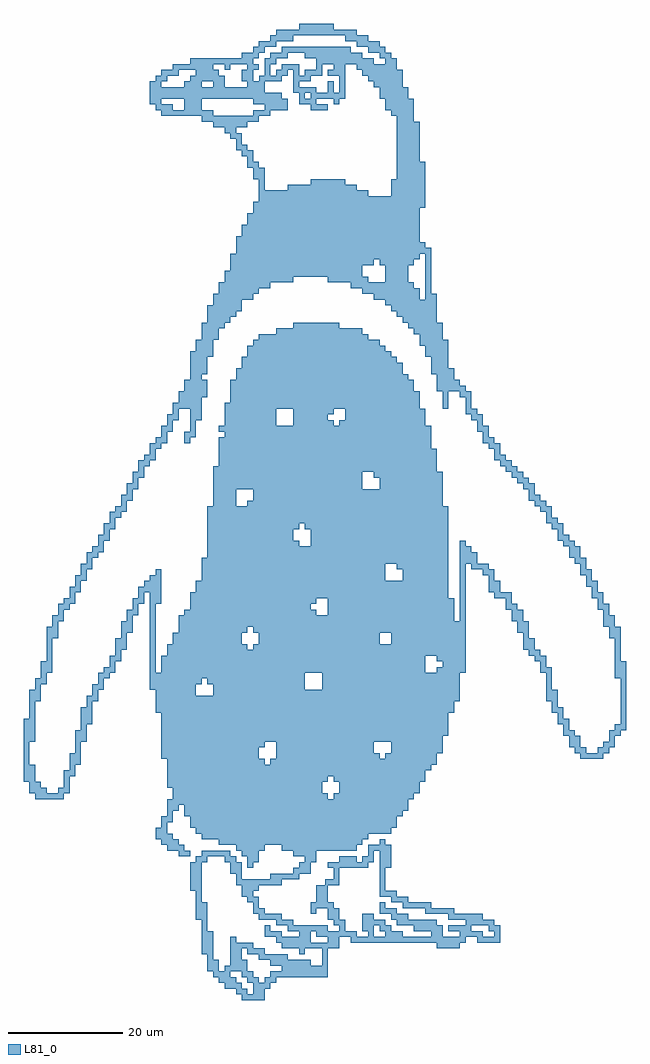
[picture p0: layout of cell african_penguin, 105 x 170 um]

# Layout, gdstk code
import gdstk
lib = gdstk.Library(unit=1e-6, precision=1e-09)
def R(c, l, rs):  # rectangles x0, y0, x1, y1
    for r in rs: c.add(gdstk.rectangle(r[:2], r[2:], *l))
def P(c, l, *ps):  # polygons
    for p in ps: c.add(gdstk.Polygon(p, *l))
L81_0 = (81, 0)

african_penguin = lib.new_cell('african_penguin')
R(african_penguin, L81_0, [(-10.5,-74,-9.5,-72), (11.5,-68,14.49,-67), (10.5,-67,12.5,-66), (-24.5,12,-23.5,13.99), (-2.5,70,0.5,71), (1.5,71,2.5,73), (0.5,73,1.5,75), (-11.49,75,-10.5,76), (-3.5,76,-0.5,77), (-1.5,77,-0.5,79.2)])
P(african_penguin, L81_0, [(-14.5,-85),(-14.5,-84),(-15.5,-84),(-15.5,-83),(-17.5,-83),(-17.5,-82),(-18.5,-82),(-18.5,-81),(-16.5,-81),(-15.5,-81),(-15.5,-82),(-14.5,-82),(-14.5,-83),(-13.5,-83),(-13.5,-84),(-12.5,-84),(-12.5,-82),(-13.5,-82),(-13.5,-81),(-14.5,-81),(-14.5,-80),(-16.5,-80),(-16.5,-81),(-18.5,-81),(-19.5,-81),(-19.5,-80),(-20.5,-80),(-20.5,-77),(-21.5,-77),(-21.5,-71),(-22.5,-71),(-22.5,-68),(-21.5,-68),(-20.5,-68),(-20.5,-73),(-19.5,-73),(-19.5,-78),(-18.5,-78),(-18.5,-80),(-17.5,-80),(-17.5,-79),(-16.5,-79),(-16.5,-78),(-14.5,-78),(-13.5,-78),(-13.5,-80),(-12.5,-80),(-12.5,-81),(-11.5,-81),(-11.5,-82),(-10.5,-82),(-10.5,-81),(-9.5,-81),(-9.5,-80),(-7.5,-80),(-7.5,-79),(-9.5,-79),(-9.5,-78),(-11.5,-78),(-11.5,-77),(-13.5,-77),(-13.5,-76),(-14.5,-76),(-14.5,-78),(-16.5,-78),(-16.5,-74),(-15.5,-74),(-15.5,-75),(-12.5,-75),(-12.5,-76),(-10.5,-76),(-10.5,-77),(-6.5,-77),(-6.5,-78),(-3.5,-78),(-2.5,-78),(-2.5,-79),(-0.5,-79),(-0.5,-76),(-3.5,-76),(-3.5,-77),(-4.5,-77),(-4.5,-76),(-7.5,-76),(-7.5,-75),(-2.5,-75),(0.5,-75),(0.5,-74),(-1.5,-74),(-1.5,-73),(-2.5,-73),(-2.5,-75),(-7.5,-75),(-8.5,-75),(-8.5,-74),(-9.5,-74),(-9.5,-73),(-7.5,-73),(-7.5,-74),(-4.5,-74),(-4.5,-73),(-6.5,-73),(-6.5,-72),(-8.5,-72),(-8.5,-71),(-11.5,-71),(-11.5,-70),(-12.5,-70),(-12.5,-68),(-13.5,-68),(-13.5,-67),(-14.5,-67),(-14.5,-65),(-15.5,-65),(-15.5,-63),(-16.5,-63),(-16.5,-61),(-17.5,-61),(-17.5,-60),(-20.5,-60),(-20.5,-61),(-21.5,-61),(-21.5,-68),(-22.5,-68),(-22.5,-66),(-23.5,-66),(-23.5,-61),(-22.5,-61),(-22.5,-60),(-21.5,-60),(-21.5,-59),(-16.5,-59),(-16.5,-60),(-15.5,-60),(-15.5,-61),(-14.5,-61),(-14.5,-64),(-9.5,-64),(-9.5,-63),(-5.5,-63),(-5.5,-62),(-4.5,-62),(-4.5,-61),(-3.5,-61),(-3.5,-60),(-5.5,-60),(-5.5,-59),(-7.5,-59),(-7.5,-58),(-10.5,-58),(-10.5,-59),(-11.5,-59),(-11.5,-61),(-12.5,-61),(-12.5,-62),(-13.5,-62),(-13.5,-60),(-14.5,-60),(-14.5,-59),(-15.5,-59),(-15.5,-58),(-18.5,-58),(-18.5,-57),(-21.5,-57),(-21.5,-56),(-22.5,-56),(-22.5,-55),(-23.5,-55),(-23.5,-53),(-24.5,-53),(-24.5,-51),(-25.5,-51),(-25.5,-52),(-26.5,-52),(-26.5,-54),(-27.5,-54),(-27.5,-56),(-26.5,-56),(-26.5,-57),(-25.5,-57),(-25.5,-58),(-24.5,-58),(-24.5,-59),(-23.5,-59),(-23.5,-60),(-25.5,-60),(-25.5,-59),(-27.5,-59),(-27.5,-58),(-28.5,-58),(-28.5,-57),(-29.5,-57),(-29.5,-55),(-28.5,-55),(-28.5,-53),(-27.5,-53),(-27.5,-50),(-26.5,-50),(-26.5,-49),(-0.5,-49),(0.5,-49),(0.5,-50),(1.5,-50),(1.5,-49),(2.5,-49),(2.5,-47),(1.5,-47),(1.5,-46),(0.5,-46),(0.5,-47),(-0.5,-47),(-0.5,-49),(-26.5,-49),(-26.5,-48),(-27.5,-48),(-27.5,-43),(-11.5,-43),(-10.5,-43),(-10.5,-44),(-9.5,-44),(-9.5,-43),(-8.5,-43),(-8.5,-42),(8.5,-42),(9.5,-42),(9.5,-43),(10.5,-43),(10.5,-42),(11.5,-42),(11.5,-40),(8.5,-40),(8.5,-42),(-8.5,-42),(-8.5,-40),(-10.5,-40),(-10.5,-41),(-11.5,-41),(-11.5,-43),(-27.5,-43),(-28.5,-43),(-28.5,-35),(-29.5,-35),(-29.5,-32),(-22.5,-32),(-19.5,-32),(-19.5,-31),(-3.5,-31),(-0.5,-31),(-0.5,-28),(17.5,-28),(19.5,-28),(19.5,-27),(20.5,-27),(20.5,-26),(19.5,-26),(19.5,-25),(17.5,-25),(17.5,-28),(-0.5,-28),(-3.5,-28),(-3.5,-31),(-19.5,-31),(-19.5,-30),(-20.5,-30),(-20.5,-29),(-21.5,-29),(-21.5,-30),(-22.5,-30),(-22.5,-32),(-29.5,-32),(-29.5,-31),(-30.5,-31),(-30.5,-14),(-31.5,-14),(-31.5,-16),(-32.5,-16),(-32.5,-18),(-33.5,-18),(-33.5,-21),(-34.5,-21),(-34.5,-24),(-35.5,-24),(-35.5,-26),(-36.5,-26),(-36.5,-28),(-37.5,-28),(-37.5,-29),(-38.5,-29),(-38.5,-27),(-37.5,-27),(-37.5,-25),(-36.5,-25),(-36.5,-22),(-35.5,-22),(-35.5,-19),(-34.5,-19),(-34.5,-17),(-33.5,-17),(-33.5,-15),(-32.5,-15),(-32.5,-13),(-31.5,-13),(-31.5,-12),(-30.5,-12),(-30.5,-11),(-29.5,-11),(-29.5,-10),(-28.5,-10),(-28.5,-16),(-29.5,-16),(-29.5,-28),(-28.5,-28),(-28.5,-25),(-27.5,-25),(-27.5,-23),(-26.5,-23),(-14.5,-23),(-13.5,-23),(-13.5,-24),(-12.5,-24),(-12.5,-23),(-11.5,-23),(9.5,-23),(11.5,-23),(11.5,-21),(9.5,-21),(9.5,-23),(-11.5,-23),(-11.5,-21),(-12.5,-21),(-12.5,-20),(-13.5,-20),(-13.5,-21),(-14.5,-21),(-14.5,-23),(-26.5,-23),(-26.5,-21),(-25.5,-21),(-25.5,-18),(-24.5,-18),(-24.5,-17),(-23.5,-17),(-2.5,-17),(-1.5,-17),(-1.5,-18),(0.5,-18),(0.5,-15),(-1.5,-15),(-1.5,-16),(-2.5,-16),(-2.5,-17),(-23.5,-17),(-23.5,-14),(-22.5,-14),(-22.5,-12),(-21.5,-12),(10.5,-12),(13.5,-12),(13.5,-10),(12.5,-10),(12.5,-9),(10.5,-9),(10.5,-12),(-21.5,-12),(-21.5,-8),(-20.5,-8),(-20.5,-5),(-5.5,-5),(-4.5,-5),(-4.5,-6),(-2.5,-6),(-2.5,-3),(-3.5,-3),(-3.5,-2),(-4.5,-2),(-4.5,-3),(-5.5,-3),(-5.5,-5),(-20.5,-5),(-20.5,1),(-19.5,1),(-15.5,1),(-13.5,1),(-13.5,2),(-12.5,2),(-12.5,4),(6.5,4),(9.5,4),(9.5,6),(8.5,6),(8.5,7),(6.5,7),(6.5,4),(-12.5,4),(-15.5,4),(-15.5,1),(-19.5,1),(-19.5,8),(-18.5,8),(-18.5,13),(-17.5,13),(-17.5,14),(-18.5,14),(-18.5,15),(-17.5,15),(-8.5,15),(-5.5,15),(-5.5,16),(0.5,16),(1.5,16),(1.5,15),(2.5,15),(2.5,16),(3.5,16),(3.5,18),(1.5,18),(1.5,17),(0.5,17),(0.5,16),(-5.5,16),(-5.5,18),(-8.5,18),(-8.5,15),(-17.5,15),(-17.5,19),(-16.5,19),(-16.5,23),(-15.5,23),(-15.5,25),(-14.5,25),(-14.5,27),(-13.5,27),(-13.5,29),(-12.5,29),(-12.5,30),(-11.5,30),(-11.5,31),(-8.5,31),(-8.5,32),(-5.5,32),(-5.5,33),(2.5,33),(2.5,32),(6.5,32),(6.5,31),(7.5,31),(7.5,30),(9.5,30),(9.5,29),(10.5,29),(10.5,28),(11.5,28),(11.5,27),(12.5,27),(12.5,26),(13.5,26),(13.5,24),(14.5,24),(14.5,23),(15.5,23),(15.5,21),(16.5,21),(16.5,18),(17.5,18),(17.5,15),(18.5,15),(18.5,11),(19.5,11),(19.5,7),(20.5,7),(20.5,1),(21.5,1),(21.5,-15),(22.5,-15),(22.5,-19),(23.5,-19),(23.5,-5),(24.5,-5),(24.5,-6),(25.5,-6),(25.5,-7),(26.5,-7),(26.5,-9),(28.5,-9),(28.5,-10),(29.5,-10),(29.5,-12),(30.5,-12),(30.5,-14),(32.5,-14),(32.5,-16),(33.5,-16),(33.5,-17),(34.5,-17),(34.5,-19),(35.5,-19),(35.5,-22),(36.5,-22),(36.5,-24),(37.5,-24),(37.5,-25),(38.5,-25),(38.5,-27),(39.5,-27),(39.5,-31),(40.5,-31),(40.5,-34),(41.5,-34),(41.5,-36),(42.5,-36),(42.5,-38),(43.5,-38),(43.5,-39),(44.5,-39),(44.5,-41),(45.5,-41),(45.5,-42),(47.5,-42),(47.5,-41),(48.5,-41),(48.5,-40),(49.5,-40),(49.5,-37.98),(50.5,-37.98),(50.5,-41),(49.5,-41),(49.5,-42),(48.5,-42),(48.5,-43),(44.5,-43),(44.5,-42),(43.5,-42),(43.5,-41),(42.5,-41),(42.5,-39),(41.5,-39),(41.5,-37),(40.5,-37),(40.5,-35),(39.5,-35),(39.5,-33),(38.5,-33),(38.5,-28),(37.5,-28),(37.5,-26),(36.5,-26),(36.5,-25),(35.5,-25),(35.5,-24),(34.5,-24),(34.5,-21),(33.5,-21),(33.5,-19),(32.5,-19),(32.5,-17),(31.5,-17),(31.5,-15),(29.5,-15),(29.5,-14),(28.5,-14),(28.5,-11),(27.5,-11),(27.5,-10),(25.5,-10),(25.5,-9),(24.5,-9),(24.5,-28),(23.5,-28),(23.5,-33),(22.5,-33),(22.5,-35),(21.5,-35),(21.5,-39),(20.5,-39),(20.5,-42),(19.5,-42),(19.5,-44),(18.5,-44),(18.5,-45),(17.5,-45),(17.5,-47),(16.5,-47),(16.5,-49),(15.5,-49),(15.5,-50),(14.5,-50),(14.5,-52),(13.5,-52),(13.5,-53),(12.5,-53),(12.5,-55),(11.5,-55),(11.5,-56),(7.5,-56),(7.5,-57),(6.5,-57),(6.5,-58),(5.5,-58),(5.5,-59),(-1.5,-59),(-1.5,-61),(-2.5,-61),(-2.5,-63),(-4.5,-63),(-4.5,-64),(-7.5,-64),(-7.5,-65),(-11.5,-65),(-11.5,-66),(-12.5,-66),(-12.5,-67),(-11.5,-67),(-11.5,-69),(-10.5,-69),(-10.5,-70),(-7.5,-70),(-7.5,-71),(-5.5,-71),(-5.5,-72),(0.5,-72),(0.5,-73),(1.5,-73),(2.5,-73),(2.5,-76),(0.5,-76),(0.5,-81),(-8.5,-81),(-8.5,-82),(-9.5,-82),(-9.5,-83),(-10.5,-83),(-10.5,-85)],
  [(19.5,-76),(19.5,-75),(4.5,-75),(4.5,-74),(2.5,-74),(2.5,-71),(3.5,-71),(3.5,-73),(5.5,-73),(5.5,-74),(7.5,-74),(7.5,-71.88),(8.5,-71.88),(8.5,-74),(10.5,-74),(10.5,-73),(9.5,-73),(9.5,-72),(7.5,-72),(7.5,-73),(6.5,-73),(6.5,-70),(8.5,-70),(8.5,-71),(10.5,-71),(10.5,-72),(11.5,-72),(11.5,-73),(13.5,-73),(13.5,-74),(18.5,-74),(18.5,-73),(15.5,-73),(15.5,-72),(12.5,-72),(12.5,-71),(11.5,-71),(11.5,-70),(9.5,-70),(9.5,-68),(10.5,-68),(10.5,-69),(12.5,-69),(12.5,-70),(14.5,-70),(14.5,-71),(19.5,-71),(19.5,-72),(20.5,-72),(20.5,-74),(23.5,-74),(23.5,-73),(25.5,-73),(27.5,-73),(27.5,-74),(29.5,-74),(29.5,-73),(28.5,-73),(28.5,-72),(25.5,-72),(25.5,-73),(23.5,-73),(21.5,-73),(21.5,-72),(24.5,-72),(24.5,-71),(21.5,-71),(21.5,-70),(17.5,-70),(17.5,-69),(13.5,-69),(13.5,-68),(18.5,-68),(18.5,-69),(22.5,-69),(22.5,-70),(27.5,-70),(27.5,-71),(29.5,-71),(29.5,-72),(30.5,-72),(30.5,-75),(26.5,-75),(26.5,-74),(24.5,-74),(24.5,-75),(23.5,-75),(23.5,-76)],
  [(9.5,-67),(9.5,-59),(8.5,-59),(8.5,-61),(7.5,-61),(7.5,-62),(2.5,-62),(2.5,-65),(0,-65),(0,-64),(1.5,-64),(1.5,-62),(0.5,-62),(0.5,-61),(2.5,-61),(2.5,-60),(5.5,-60),(5.5,-61),(6.5,-61),(6.5,-60),(7.5,-60),(7.5,-58),(9.5,-58),(9.5,-57),(10.5,-57),(10.5,-58),(11.5,-58),(11.5,-62),(10.5,-62),(10.5,-67)],
  [(-31.5,8),(-31.5,10),(-30.5,10),(-30.5,12),(-29.5,12),(-29.5,13),(-28.5,13),(-28.5,15),(-27.5,15),(-27.5,17),(-26.5,17),(-26.5,19),(-25.5,19),(-25.5,21),(-24.5,21),(-24.5,23),(-23.5,23),(-23.5,28),(-22.5,28),(-22.5,30),(-21.5,30),(-21.5,33),(-20.5,33),(-20.5,36),(-19.5,36),(-19.5,38),(-18.5,38),(-18.5,40),(-17.5,40),(-17.5,42),(-16.5,42),(-16.5,45),(-15.5,45),(-15.5,48),(-14.5,48),(-14.5,50),(-13.5,50),(-13.5,52),(-12.5,52),(-12.5,54),(-11.5,54),(-11.5,58),(-12.5,58),(-12.5,60),(-13.5,60),(-13.5,62),(-14.5,62),(-14.5,63),(-15.5,63),(-15.5,65),(-16.5,65),(-16.5,66),(-15.5,66),(-14.5,66),(-14.5,64),(-13.5,64),(-13.5,63),(-12.5,63),(-12.5,61),(-11.5,61),(-11.5,60),(-10.5,60),(-10.5,56),(-6.5,56),(-6.5,57),(-2.5,57),(-2.5,58),(3.5,58),(3.5,57),(5.5,57),(5.5,56),(7.5,56),(7.5,55),(11.5,55),(11.5,58),(12.5,58),(12.5,69),(11.5,69),(11.5,70),(10.5,70),(10.5,72),(9.5,72),(9.5,74),(8.5,74),(8.5,75),(7.5,75),(7.5,76),(6.5,76),(6.5,77),(5.5,77),(5.5,78),(3.5,78),(3.5,72),(2.5,72),(2.5,76),(0.5,76),(0.5,77),(1.5,77),(1.5,78),(-0.5,78),(-0.5,79),(-3.5,79),(-3.5,80),(-6.5,80),(-6.5,79),(-8.5,79),(-8.5,78),(-9.5,78),(-9.5,76),(-8.5,76),(-8.5,77),(-7.5,77),(-7.5,78),(-4.5,78),(-4.5,76),(-2.49,76),(-2.49,75),(-4.5,75),(-4.5,73),(-5.5,73),(-5.5,77),(-6.5,77),(-6.5,76),(-7.5,76),(-7.5,75),(-10.5,75),(-10.5,79),(-9.5,79),(-9.5,80),(-7.5,80),(-7.5,81),(4.5,81),(4.5,80),(6.51,80),(6.51,79),(8.5,79),(8.5,78),(10.5,78),(10.5,79),(9.5,79),(9.5,80),(7.5,80),(7.5,81),(5.5,81),(5.5,82),(3.5,82),(3.5,83),(-5.5,83),(-5.5,82),(-8.5,82),(-8.5,81),(-10.5,81),(-10.5,80),(-11.5,80),(-11.5,79),(-12.5,79),(-12.5,78),(-11.5,78),(-11.5,77),(-12.5,77),(-12.5,75),(-10.5,75),(-10.5,73),(-7.5,73),(-7.5,72),(-6.5,72),(-6.5,70),(-9.5,70),(-9.5,69),(-11.5,69),(-11.5,68),(-13.5,68),(-13.5,67),(-15.5,67),(-15.5,66),(-16.5,66),(-17.5,66),(-17.5,67),(-19.5,67),(-19.5,68),(-21.5,68),(-21.5,69),(-28.5,69),(-28.5,70),(-29.5,70),(-29.5,71),(-28.5,71),(-26.5,71),(-26.5,70),(-24.5,70),(-21.5,70),(-19.5,70),(-19.5,69),(-12.5,69),(-12.5,70),(-10.5,70),(-10.5,71),(-12.5,71),(-12.5,72),(-21.5,72),(-21.5,70),(-24.5,70),(-24.5,72),(-28.5,72),(-28.5,71),(-29.5,71),(-30.5,71),(-30.5,74),(-28.5,74),(-24.5,74),(-21.5,74),(-19.5,74),(-19.5,75),(-21.5,75),(-21.5,74),(-24.5,74),(-24.5,75),(-23.5,75),(-23.5,76),(-22.5,76),(-22.5,77),(-19.5,77),(-18.5,77),(-18.5,76),(-17.5,76),(-17.5,74),(-13.5,74),(-13.5,75),(-14.5,75),(-14.5,77),(-13.5,77),(-13.5,78),(-16.5,78),(-16.5,77),(-17.5,77),(-17.5,78),(-19.5,78),(-19.5,77),(-22.5,77),(-25.5,77),(-25.5,76),(-27.5,76),(-27.5,75),(-28.5,75),(-28.5,74),(-30.5,74),(-30.5,75),(-29.5,75),(-29.5,76),(-28.5,76),(-28.5,77),(-26.5,77),(-26.5,78),(-23.5,78),(-23.5,79),(-14.5,79),(-14.5,80),(-12.5,80),(-12.5,81),(-11.5,81),(-11.5,82),(-9.5,82),(-9.5,83),(-8.5,83),(-8.5,84),(-4.5,84),(-4.5,85),(1.5,85),(1.5,84),(5.5,84),(5.5,83),(7.5,83),(7.5,82),(9.5,82),(9.5,81),(10.5,81),(10.5,80),(11.5,80),(11.5,79),(12.5,79),(12.5,77),(13.5,77),(13.5,74),(14.5,74),(14.5,72),(15.5,72),(15.5,68),(16.5,68),(16.5,61),(17.5,61),(17.5,53),(16.5,53),(16.5,47),(17.5,47),(17.5,46),(18.5,46),(18.5,38),(19.5,38),(19.5,33),(20.5,33),(20.5,30),(21.5,30),(21.5,25),(22.5,25),(22.5,23),(23.5,23),(23.5,22),(24.5,22),(24.5,21),(25.5,21),(25.5,18),(26.5,18),(26.5,16),(25.5,16),(25.5,17),(24.5,17),(24.5,20),(23.5,20),(23.5,21),(21.5,21),(21.5,18),(20.5,18),(20.5,21),(19.5,21),(19.5,24),(18.5,24),(18.5,27),(17.5,27),(17.5,29),(16.5,29),(16.5,31),(15.5,31),(15.5,32),(14.5,32),(14.5,33),(13.5,33),(13.5,34),(12.5,34),(12.5,35),(11.5,35),(11.5,36),(10.5,36),(10.5,37),(8.5,37),(8.5,38),(6.5,38),(6.5,39),(4.5,39),(4.5,40),(0.5,40),(0.5,41),(6.5,41),(7.5,41),(7.5,40),(10.5,40),(14.5,40),(15.5,40),(15.5,39),(16.5,39),(16.5,37),(17.5,37),(17.5,45),(16.5,45),(16.5,44),(15.5,44),(15.5,43),(14.5,43),(14.5,40),(10.5,40),(10.5,43),(9.5,43),(9.5,44),(8.5,44),(8.5,43),(6.5,43),(6.5,41),(0.5,41),(-5.5,41),(-5.5,40),(-9.5,40),(-9.5,39),(-11.5,39),(-11.5,38),(-12.5,38),(-12.5,37),(-14.5,37),(-14.5,35),(-15.5,35),(-15.5,34),(-16.5,34),(-16.5,33),(-17.5,33),(-17.5,32),(-18.5,32),(-18.5,30),(-19.5,30),(-19.5,27),(-20.5,27),(-20.5,24),(-21.5,24),(-21.5,23),(-20.5,23),(-20.5,20),(-21.5,20),(-21.5,16),(-22.5,16),(-22.5,13),(-23.5,13),(-23.5,18),(-25.5,18),(-25.5,16),(-26.5,16),(-26.5,14),(-27.5,14),(-27.5,12),(-28.5,12),(-28.5,11),(-29.5,11),(-29.5,9),(-30.5,9),(-30.5,8)],
  [(-4.5,71),(-4.5,74),(-3.5,74),(-3.5,72),(-1.51,72),(-1.51,71)],
  [(-2.5,72),(-2.5,73),(-3.5,73),(-3.5,74),(-1.5,74),(-1.5,73),(1.5,73),(1.5,72)],
  [(-36.5,-1),(-36.5,1),(-35.5,1),(-35.5,3),(-34.5,3),(-34.5,5),(-33.5,5),(-33.5,7),(-32.5,7),(-32.5,8.98),(-31.5,8.98),(-31.5,6),(-32.5,6),(-32.5,4),(-33.5,4),(-33.5,2),(-34.5,2),(-34.5,0),(-35.5,0),(-35.5,-1)],
  [(-50.5,-50),(-50.5,-49),(-51.5,-49),(-51.5,-47),(-52.5,-47),(-52.5,-36),(-51.5,-36),(-51.5,-31),(-50.5,-31),(-50.5,-29),(-49.5,-29),(-49.5,-26),(-48.5,-26),(-48.5,-20),(-47.5,-20),(-47.5,-18),(-46.5,-18),(-46.5,-16),(-45.5,-16),(-45.5,-15),(-44.5,-15),(-44.5,-13),(-43.5,-13),(-43.5,-11),(-42.5,-11),(-42.5,-9),(-41.5,-9),(-41.5,-7),(-40.5,-7),(-40.5,-6),(-39.5,-6),(-39.5,-4),(-38.5,-4),(-38.5,-2),(-37.5,-2),(-37.5,0.02),(-36.5,0.02),(-36.5,-3),(-37.5,-3),(-37.5,-5),(-38.5,-5),(-38.5,-7),(-39.5,-7),(-39.5,-8),(-40.5,-8),(-40.5,-10),(-41.5,-10),(-41.5,-12),(-42.5,-12),(-42.5,-14),(-43.5,-14),(-43.5,-16),(-44.5,-16),(-44.5,-17),(-45.5,-17),(-45.5,-19),(-46.5,-19),(-46.5,-22),(-47.5,-22),(-47.5,-28),(-48.5,-28),(-48.5,-30),(-49.5,-30),(-49.5,-33),(-50.5,-33),(-50.5,-40),(-51.5,-40),(-51.5,-44),(-50.5,-44),(-50.5,-47),(-49.5,-47),(-49.5,-48),(-48.5,-48),(-48.5,-49),(-46.5,-49),(-46.5,-48),(-45.5,-48),(-45.5,-45),(-44.5,-45),(-44.5,-42),(-43.5,-42),(-43.5,-38),(-42.5,-38),(-42.5,-34),(-41.5,-34),(-41.5,-32),(-40.5,-32),(-40.5,-30),(-39.5,-30),(-39.5,-28.01),(-38.5,-28.01),(-38.5,-31),(-39.5,-31),(-39.5,-33),(-40.5,-33),(-40.5,-37),(-41.5,-37),(-41.5,-40),(-42.5,-40),(-42.5,-44),(-43.5,-44),(-43.5,-46),(-44.5,-46),(-44.5,-49),(-45.5,-49),(-45.5,-50)],
  [(50.5,-39),(50.5,-37),(51.5,-37),(51.5,-29),(50.5,-29),(50.5,-22),(49.5,-22),(49.5,-20),(48.5,-20),(48.5,-17),(47.5,-17),(47.5,-15),(46.5,-15),(46.5,-13),(45.5,-13),(45.5,-11),(44.5,-11),(44.5,-9),(43.5,-9),(43.5,-8),(42.5,-8),(42.5,-6),(41.5,-6),(41.5,-5),(40.5,-5),(40.5,-3),(39.5,-3),(39.5,-2),(38.5,-2),(38.5,0),(37.5,0),(37.5,1),(36.5,1),(36.5,2),(35.5,2),(35.5,4),(34.5,4),(34.5,5),(33.5,5),(33.5,6),(32.5,6),(32.5,7),(31.5,7),(31.5,8),(30.5,8),(30.5,9),(29.5,9),(29.5,11),(28.5,11),(28.5,12),(27.5,12),(27.5,14),(26.5,14),(26.5,16.99),(27.5,16.99),(27.5,15),(28.5,15),(28.5,13),(29.5,13),(29.5,12),(30.5,12),(30.5,10),(31.5,10),(31.5,9),(32.5,9),(32.5,8),(33.5,8),(33.5,7),(34.5,7),(34.5,6),(35.5,6),(35.5,5),(36.5,5),(36.5,3),(37.5,3),(37.5,2),(38.5,2),(38.5,1),(39.5,1),(39.5,-1),(40.5,-1),(40.5,-2),(41.5,-2),(41.5,-4),(42.5,-4),(42.5,-5),(43.5,-5),(43.5,-6),(44.5,-6),(44.5,-8),(45.5,-8),(45.5,-10),(46.5,-10),(46.5,-12),(47.5,-12),(47.5,-14),(48.5,-14),(48.5,-16),(49.5,-16),(49.5,-18),(50.5,-18),(50.5,-20),(51.5,-20),(51.5,-26),(52.5,-26),(52.5,-38),(51.5,-38),(51.5,-39)],
  [(1.5,-72),(1.5,-71),(0.5,-71),(0.5,-69),(-1.5,-69),(-1.5,-70),(-2.5,-70),(-2.5,-68),(-1.5,-68),(-1.5,-65),(0.5,-65),(0.5,-68),(1.5,-68),(1.5,-69),(2.5,-69),(2.5,-72)])

lib.write_gds('african_penguin.gds')
